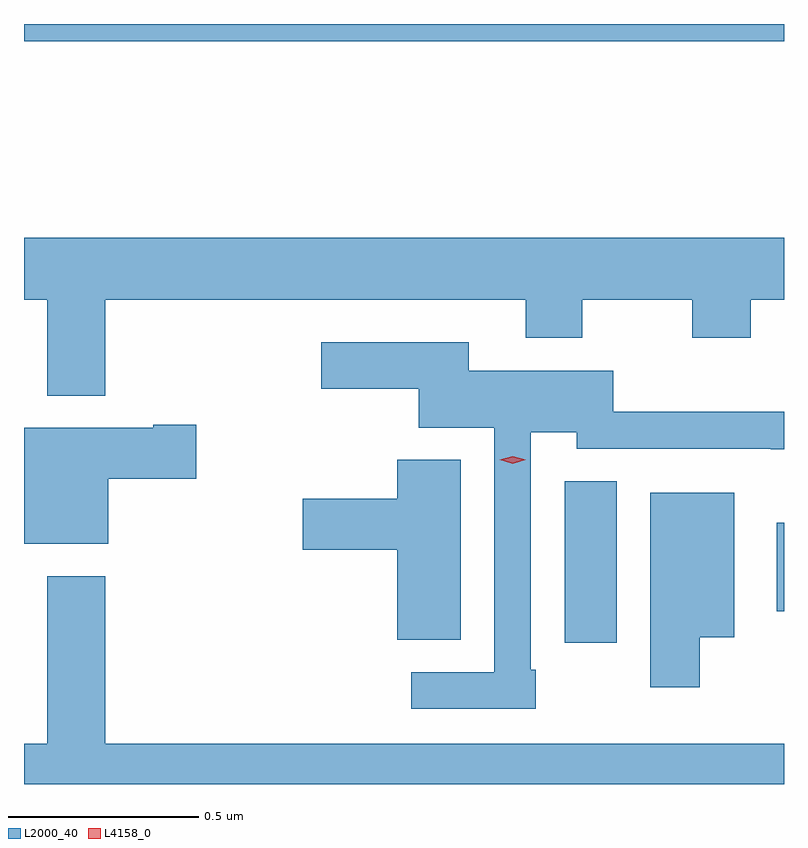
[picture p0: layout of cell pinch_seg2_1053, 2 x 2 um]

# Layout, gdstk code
import gdstk
lib = gdstk.Library(unit=1e-6, precision=1e-09)
def R(c, l, rs):  # rectangles x0, y0, x1, y1
    for r in rs: c.add(gdstk.rectangle(r[:2], r[2:], *l))
def P(c, l, *ps):  # polygons
    for p in ps: c.add(gdstk.Polygon(p, *l))
L2000_40 = (2000, 40)
L4158_0 = (4158, 0)

pinch_seg2_1053 = lib.new_cell('pinch_seg2_1053')
R(pinch_seg2_1053, L2000_40, [(307.883,592.122,308.02,592.547), (308.441,592.205,308.46,592.438), (306.46,593.704,308.46,593.75)])
P(pinch_seg2_1053, L2000_40, [(306.674,593.024),(307.781,593.024),(307.781,592.925),(307.929,592.925),(307.929,593.024),(308.218,593.024),(308.218,592.925),(308.373,592.925),(308.373,593.024),(308.46,593.024),(308.46,593.188),(306.46,593.188),(306.46,593.024),(306.521,593.024),(306.521,592.772),(306.674,592.772)],
  [(307.807,592.051),(307.794,592.051),(307.794,592.676),(307.914,592.676),(307.914,592.632),(308.425,592.632),(308.425,592.631),(308.46,592.631),(308.46,592.73),(308.01,592.73),(308.01,592.837),(307.63,592.837),(307.63,592.912),(307.242,592.912),(307.242,592.79),(307.499,592.79),(307.499,592.688),(307.698,592.688),(307.698,592.044),(307.479,592.044),(307.479,591.948),(307.807,591.948)],
  [(306.682,592.553),(306.913,592.553),(306.913,592.695),(306.8,592.695),(306.8,592.687),(306.46,592.687),(306.46,592.382),(306.682,592.382)],
  [(307.609,592.603),(307.442,592.603),(307.442,592.501),(307.194,592.501),(307.194,592.367),(307.442,592.367),(307.442,592.129),(307.609,592.129)],
  [(308.238,592.136),(308.329,592.136),(308.329,592.516),(308.108,592.516),(308.108,592.005),(308.238,592.005)],
  [(308.46,591.856),(306.674,591.856),(306.674,592.297),(306.521,592.297),(306.521,591.856),(306.46,591.856),(306.46,591.75),(308.46,591.75)])
P(pinch_seg2_1053, L4158_0, [(307.746,592.593),(307.712,592.603),(307.711,592.603),(307.712,592.603),(307.746,592.613),(307.781,592.603),(307.781,592.603),(307.781,592.603)])

lib.write_gds('pinch_seg2_1053.gds')
